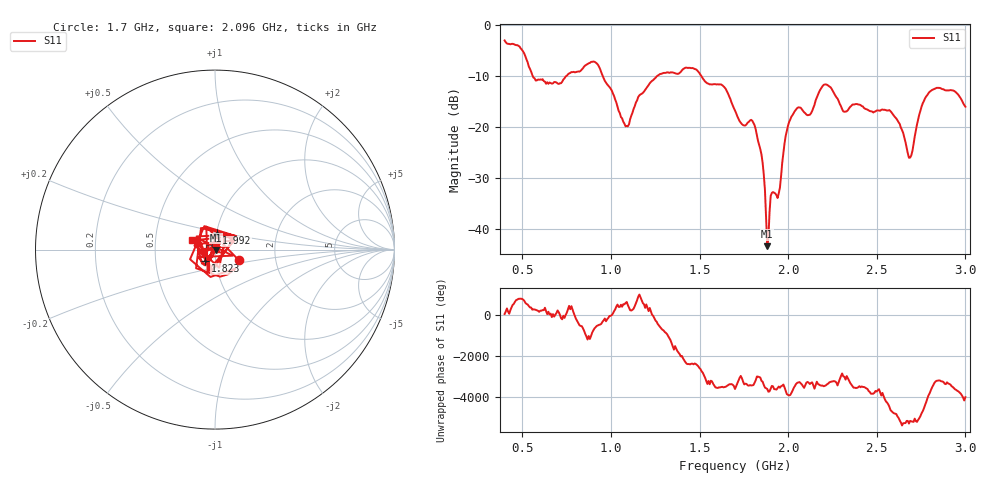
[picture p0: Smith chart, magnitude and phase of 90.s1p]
!Created with skrf (http://scikit-rf.org).
# Hz S RI R 50.0
!freq ReS11 ImS11
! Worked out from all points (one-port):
!   401 points, 400 MHz to 3 GHz, reference 50 ohm
!   lowest |S11| = -43.4 dB at 1.882 GHz (marker M1), VSWR 1.01, Z = 50.6 - j0.283 ohm
!   |S11| at or under -10 dB: 558.8 MHz to 749 MHz (190.2 MHz wide, 29.1 % of centre); 953.6 MHz to 1.261 GHz (307.3 MHz wide, 27.8 % of centre); 1.51 GHz to end of sweep
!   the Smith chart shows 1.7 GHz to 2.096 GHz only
!   S11 on the Smith chart (normalised r, x): 1.7 GHz: 1.29, -0.16; 1.823 GHz: 0.89, -0.11; 1.992 GHz: 1.00, +0.18; 2.096 GHz: 0.77, +0.08
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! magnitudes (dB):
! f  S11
! 400 MHz  -3.0
! 491 MHz  -4.6
! 575.5 MHz  -10.9
! 725 MHz  -11.1
! 913.5 MHz  -7.3
! 1.05 GHz  -17.3
! 1.089 GHz  -19.8
! 1.232 GHz  -11.0
! 1.375 GHz  -9.6
! 1.629 GHz  -11.8
! 1.7 GHz  -16.8
! 1.823 GHz  -21.6
! 1.856 GHz  -27.1
! 1.882 GHz  -43.4
! 1.915 GHz  -32.8
! 1.947 GHz  -33.0
! 1.992 GHz  -20.7
! 2.025 GHz  -17.6
! 2.096 GHz  -17.3
! 2.207 GHz  -11.7
! 2.35 GHz  -16.0
! 2.578 GHz  -16.9
! 2.675 GHz  -25.2
! 2.695 GHz  -25.6
! 2.753 GHz  -16.0
! 2.805 GHz  -12.9
! 2.929 GHz  -12.8
! 3 GHz  -16.0
